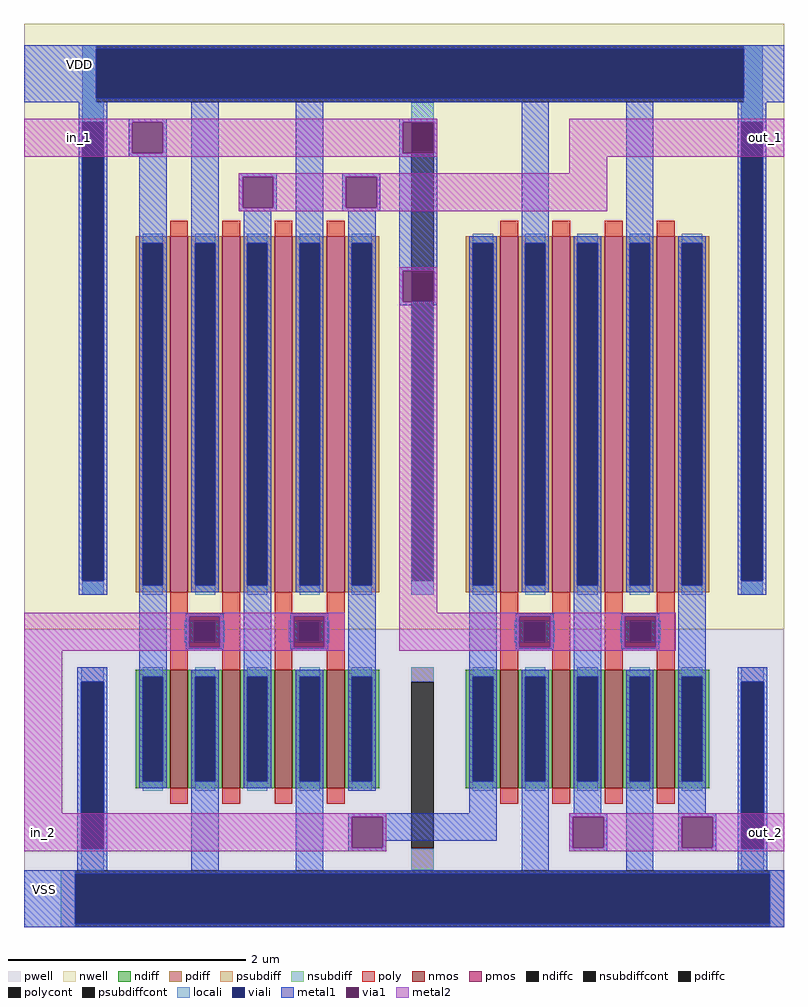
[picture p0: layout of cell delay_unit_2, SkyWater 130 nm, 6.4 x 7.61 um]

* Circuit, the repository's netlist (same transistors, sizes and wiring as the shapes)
* NGSPICE file created from delay_unit_2.ext - technology: sky130A

.subckt sky130_fd_pr__nfet_01v8_6H9P4D a_n73_n100# a_15_n100# a_n15_n126# VSUBS
X0 a_15_n100# a_n15_n126# a_n73_n100# VSUBS sky130_fd_pr__nfet_01v8 ad=0.29 pd=2.58 as=0.29 ps=2.58 w=1 l=0.15
**devattr s=11600,516 d=11600,516
.ends

.subckt sky130_fd_pr__pfet_01v8_2K9SAN a_n73_n300# w_n109_n362# a_15_n300# a_n15_n326#
X0 a_15_n300# a_n15_n326# a_n73_n300# w_n109_n362# sky130_fd_pr__pfet_01v8 ad=0.87 pd=6.58 as=0.87 ps=6.58 w=3 l=0.15
**devattr s=34800,1316 d=34800,1316
.ends

.subckt delay_unit_2 in_1 in_2 out_1 out_2 VDD VSS
Xsky130_fd_pr__nfet_01v8_6H9P4D_0 VSS out_1 in_2 VSS sky130_fd_pr__nfet_01v8_6H9P4D
Xsky130_fd_pr__nfet_01v8_6H9P4D_1 out_1 VSS in_2 VSS sky130_fd_pr__nfet_01v8_6H9P4D
Xsky130_fd_pr__pfet_01v8_2K9SAN_0 VDD VDD out_1 in_2 sky130_fd_pr__pfet_01v8_2K9SAN
Xsky130_fd_pr__nfet_01v8_6H9P4D_2 VSS out_1 in_2 VSS sky130_fd_pr__nfet_01v8_6H9P4D
Xsky130_fd_pr__pfet_01v8_2K9SAN_1 out_1 VDD VDD in_2 sky130_fd_pr__pfet_01v8_2K9SAN
Xsky130_fd_pr__nfet_01v8_6H9P4D_3 in_1 VSS in_2 VSS sky130_fd_pr__nfet_01v8_6H9P4D
Xsky130_fd_pr__pfet_01v8_2K9SAN_2 VDD VDD out_1 in_2 sky130_fd_pr__pfet_01v8_2K9SAN
Xsky130_fd_pr__nfet_01v8_6H9P4D_4 in_2 VSS in_1 VSS sky130_fd_pr__nfet_01v8_6H9P4D
Xsky130_fd_pr__pfet_01v8_2K9SAN_3 in_1 VDD VDD in_2 sky130_fd_pr__pfet_01v8_2K9SAN
Xsky130_fd_pr__nfet_01v8_6H9P4D_5 VSS out_2 in_1 VSS sky130_fd_pr__nfet_01v8_6H9P4D
Xsky130_fd_pr__nfet_01v8_6H9P4D_6 out_2 VSS in_1 VSS sky130_fd_pr__nfet_01v8_6H9P4D
Xsky130_fd_pr__pfet_01v8_2K9SAN_4 VDD VDD out_2 in_1 sky130_fd_pr__pfet_01v8_2K9SAN
Xsky130_fd_pr__nfet_01v8_6H9P4D_7 VSS out_2 in_1 VSS sky130_fd_pr__nfet_01v8_6H9P4D
Xsky130_fd_pr__pfet_01v8_2K9SAN_5 in_2 VDD VDD in_1 sky130_fd_pr__pfet_01v8_2K9SAN
Xsky130_fd_pr__pfet_01v8_2K9SAN_6 VDD VDD out_2 in_1 sky130_fd_pr__pfet_01v8_2K9SAN
Xsky130_fd_pr__pfet_01v8_2K9SAN_7 out_2 VDD VDD in_1 sky130_fd_pr__pfet_01v8_2K9SAN
.ends

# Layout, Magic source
magic
tech sky130A
magscale 1 2
<< nwell >>
rect -444 1084 836 1380
rect -444 360 -292 1084
rect 190 1080 378 1084
rect 190 970 268 1080
rect 270 1064 378 1080
rect 474 1064 538 1084
rect -198 360 -80 396
rect -22 360 96 396
rect 188 388 268 970
rect 190 360 268 388
rect 284 360 378 1064
rect 384 360 458 396
rect 718 360 836 1084
<< pwell >>
rect -444 -142 836 360
<< psubdiff >>
rect -348 272 -310 296
rect -348 -46 -310 -10
rect 208 272 246 296
rect 208 -46 246 -10
rect 764 272 802 296
rect 764 -46 802 -10
rect -382 -142 -358 -46
rect 812 -142 836 -46
<< nsubdiff >>
rect -346 1248 -322 1344
rect 768 1248 800 1344
rect -346 1214 -310 1248
rect -346 418 -310 442
rect 208 1214 246 1248
rect 208 418 246 442
rect 764 1214 800 1248
rect 764 418 800 442
<< psubdiffcont >>
rect -348 -10 -310 272
rect 208 -10 246 272
rect 764 -10 802 272
rect -358 -142 812 -46
<< nsubdiffcont >>
rect -322 1248 768 1344
rect -346 442 -310 1214
rect 208 442 246 1214
rect 764 442 800 1214
<< poly >>
rect -198 386 -168 396
rect -110 386 -80 396
rect -198 374 -80 386
rect -198 338 -158 374
rect -122 338 -80 374
rect -198 326 -80 338
rect -198 318 -168 326
rect -110 318 -80 326
rect -22 386 8 396
rect 66 386 96 396
rect -22 374 96 386
rect -22 338 18 374
rect 54 338 96 374
rect -22 326 96 338
rect -22 318 8 326
rect 66 318 96 326
rect 358 386 388 396
rect 446 386 476 396
rect 358 374 476 386
rect 358 338 398 374
rect 434 338 476 374
rect 358 326 476 338
rect 358 318 388 326
rect 446 318 476 326
rect 534 386 564 396
rect 622 386 652 396
rect 534 374 652 386
rect 534 338 576 374
rect 612 338 652 374
rect 534 326 652 338
rect 534 318 564 326
rect 622 318 652 326
<< polycont >>
rect -158 338 -122 374
rect 18 338 54 374
rect 398 338 434 374
rect 576 338 612 374
<< locali >>
rect -346 1248 -322 1344
rect 768 1248 800 1344
rect -346 1214 -310 1248
rect -346 418 -310 442
rect 208 1214 246 1248
rect 208 418 246 442
rect 764 1214 800 1248
rect 764 418 800 442
rect -174 338 -158 374
rect -122 338 -106 374
rect 2 338 18 374
rect 54 338 70 374
rect 382 338 398 374
rect 434 338 450 374
rect 560 338 576 374
rect 612 338 628 374
rect -348 272 -310 296
rect -348 -46 -310 -10
rect 208 272 246 296
rect 208 -46 246 -10
rect 764 272 802 296
rect 764 -46 802 -10
rect -382 -142 -358 -46
rect 812 -142 836 -46
<< viali >>
rect -322 1254 768 1338
rect -346 442 -310 1214
rect 764 442 800 1214
rect -158 338 -122 374
rect 18 338 54 374
rect 398 338 434 374
rect 576 338 612 374
rect -348 -10 -310 272
rect 764 -10 802 272
rect -358 -136 812 -52
<< metal1 >>
rect -444 1338 836 1344
rect -444 1254 -322 1338
rect 768 1254 836 1338
rect -444 1248 836 1254
rect -352 1214 -304 1248
rect -352 442 -346 1214
rect -310 442 -304 1214
rect -268 1214 -204 1220
rect -268 1162 -262 1214
rect -210 1162 -204 1214
rect -268 1156 -204 1162
rect -250 1022 -204 1156
rect -162 1022 -116 1248
rect -82 1122 -18 1128
rect -82 1070 -76 1122
rect -24 1070 -18 1122
rect -82 1064 -18 1070
rect -74 1022 -28 1064
rect 14 1022 60 1248
rect 188 1214 252 1220
rect 188 1162 194 1214
rect 246 1162 252 1214
rect 92 1122 156 1128
rect 92 1070 98 1122
rect 150 1070 156 1122
rect 92 1064 156 1070
rect 102 1022 148 1064
rect 188 964 252 1162
rect 394 1022 440 1248
rect 570 1022 616 1248
rect 758 1214 806 1248
rect 188 912 194 964
rect 246 912 252 964
rect 188 906 252 912
rect 208 442 246 906
rect 758 442 764 1214
rect 800 442 806 1214
rect -352 418 -304 442
rect -354 272 -304 296
rect -250 292 -204 422
rect -172 382 -108 386
rect -172 330 -166 382
rect -114 330 -108 382
rect -172 326 -108 330
rect -74 292 -28 422
rect 4 382 68 386
rect 4 330 10 382
rect 62 330 68 382
rect 4 326 68 330
rect 102 292 148 422
rect 306 292 352 422
rect 384 382 448 386
rect 384 330 390 382
rect 442 330 448 382
rect 384 326 448 330
rect 482 292 528 422
rect 562 382 626 386
rect 562 330 568 382
rect 620 330 626 382
rect 562 326 626 330
rect 658 292 704 422
rect 758 418 806 442
rect -354 -10 -348 272
rect -310 -10 -304 272
rect 758 272 808 296
rect -354 -46 -304 -10
rect -162 -46 -116 94
rect 14 -46 60 92
rect 102 88 148 92
rect 306 50 352 92
rect 102 44 352 50
rect 102 -8 108 44
rect 160 4 352 44
rect 160 -8 166 4
rect 102 -14 166 -8
rect 394 -46 440 92
rect 482 50 528 92
rect 474 44 538 50
rect 474 -8 480 44
rect 532 -8 538 44
rect 474 -14 538 -8
rect 570 -46 616 92
rect 658 50 704 92
rect 658 44 722 50
rect 658 -8 664 44
rect 716 -8 722 44
rect 658 -14 722 -8
rect 758 -10 764 272
rect 802 -10 808 272
rect 758 -46 808 -10
rect -444 -52 836 -46
rect -444 -136 -358 -52
rect 812 -136 836 -52
rect -444 -142 836 -136
<< via1 >>
rect -262 1162 -210 1214
rect -76 1070 -24 1122
rect 194 1162 246 1214
rect 98 1070 150 1122
rect 194 912 246 964
rect -166 374 -114 382
rect -166 338 -158 374
rect -158 338 -122 374
rect -122 338 -114 374
rect -166 330 -114 338
rect 10 374 62 382
rect 10 338 18 374
rect 18 338 54 374
rect 54 338 62 374
rect 10 330 62 338
rect 390 374 442 382
rect 390 338 398 374
rect 398 338 434 374
rect 434 338 442 374
rect 390 330 442 338
rect 568 374 620 382
rect 568 338 576 374
rect 576 338 612 374
rect 612 338 620 374
rect 568 330 620 338
rect 108 -8 160 44
rect 480 -8 532 44
rect 664 -8 716 44
<< metal2 >>
rect -444 1214 252 1220
rect -444 1162 -262 1214
rect -210 1162 194 1214
rect 246 1162 252 1214
rect -444 1156 252 1162
rect 474 1156 836 1220
rect 474 1128 538 1156
rect -82 1122 538 1128
rect -82 1070 -76 1122
rect -24 1070 98 1122
rect 150 1070 538 1122
rect -82 1064 538 1070
rect 188 964 252 970
rect 188 912 194 964
rect 246 912 252 964
rect 188 388 252 912
rect -444 382 96 388
rect -444 330 -166 382
rect -114 330 10 382
rect 62 330 96 382
rect -444 324 96 330
rect 188 382 654 388
rect 188 330 390 382
rect 442 330 568 382
rect 620 330 654 382
rect 188 324 654 330
rect -444 50 -380 324
rect -444 44 166 50
rect -444 -8 108 44
rect 160 -8 166 44
rect -444 -14 166 -8
rect 474 44 836 50
rect 474 -8 480 44
rect 532 -8 664 44
rect 716 -8 836 44
rect 474 -14 836 -8
use sky130_fd_pr__nfet_01v8_6H9P4D  sky130_fd_pr__nfet_01v8_6H9P4D_0
transform 1 0 81 0 1 192
box -73 -126 73 126
use sky130_fd_pr__nfet_01v8_6H9P4D  sky130_fd_pr__nfet_01v8_6H9P4D_1
transform 1 0 -7 0 1 192
box -73 -126 73 126
use sky130_fd_pr__nfet_01v8_6H9P4D  sky130_fd_pr__nfet_01v8_6H9P4D_2
transform 1 0 -95 0 1 192
box -73 -126 73 126
use sky130_fd_pr__nfet_01v8_6H9P4D  sky130_fd_pr__nfet_01v8_6H9P4D_3
transform 1 0 -183 0 1 192
box -73 -126 73 126
use sky130_fd_pr__nfet_01v8_6H9P4D  sky130_fd_pr__nfet_01v8_6H9P4D_4
transform 1 0 373 0 1 192
box -73 -126 73 126
use sky130_fd_pr__nfet_01v8_6H9P4D  sky130_fd_pr__nfet_01v8_6H9P4D_5
transform 1 0 461 0 1 192
box -73 -126 73 126
use sky130_fd_pr__nfet_01v8_6H9P4D  sky130_fd_pr__nfet_01v8_6H9P4D_6
transform 1 0 549 0 1 192
box -73 -126 73 126
use sky130_fd_pr__nfet_01v8_6H9P4D  sky130_fd_pr__nfet_01v8_6H9P4D_7
transform 1 0 637 0 1 192
box -73 -126 73 126
use sky130_fd_pr__pfet_01v8_2K9SAN  sky130_fd_pr__pfet_01v8_2K9SAN_0
transform 1 0 81 0 1 722
box -109 -362 109 362
use sky130_fd_pr__pfet_01v8_2K9SAN  sky130_fd_pr__pfet_01v8_2K9SAN_1
transform 1 0 -7 0 1 722
box -109 -362 109 362
use sky130_fd_pr__pfet_01v8_2K9SAN  sky130_fd_pr__pfet_01v8_2K9SAN_2
transform 1 0 -95 0 1 722
box -109 -362 109 362
use sky130_fd_pr__pfet_01v8_2K9SAN  sky130_fd_pr__pfet_01v8_2K9SAN_3
transform 1 0 -183 0 1 722
box -109 -362 109 362
use sky130_fd_pr__pfet_01v8_2K9SAN  sky130_fd_pr__pfet_01v8_2K9SAN_4
transform 1 0 461 0 1 722
box -109 -362 109 362
use sky130_fd_pr__pfet_01v8_2K9SAN  sky130_fd_pr__pfet_01v8_2K9SAN_5
transform 1 0 373 0 1 722
box -109 -362 109 362
use sky130_fd_pr__pfet_01v8_2K9SAN  sky130_fd_pr__pfet_01v8_2K9SAN_6
transform 1 0 637 0 1 722
box -109 -362 109 362
use sky130_fd_pr__pfet_01v8_2K9SAN  sky130_fd_pr__pfet_01v8_2K9SAN_7
transform 1 0 549 0 1 722
box -109 -362 109 362
<< labels >>
rlabel metal2 -444 -14 -380 50 0 in_2
port 2 nsew
rlabel metal2 772 -14 836 50 0 out_2
port 4 nsew
rlabel metal2 -382 1156 -318 1220 0 in_1
port 1 nsew
rlabel nwell -382 1280 -318 1344 0 VDD
port 5 nsew
rlabel metal1 -442 -110 -378 -46 0 VSS
port 6 nsew
rlabel metal2 772 1156 836 1220 0 out_1
port 3 nsew
<< end >>

# cell sky130_fd_pr__nfet_01v8_6H9P4D: kit device sky130_fd_pr__nfet_01v8, w 1 l 0.150 m 1 nf 1 diffcov 100 polycov 100 guard 0 glc 1 grc 1 gtc 1 gbc 1 tbcov 100 rlcov 100 topc 0 botc 0 poverlap 0 doverlap 1 lmin 0.15 wmin 0.42 compatible {sky130_fd_pr__nfet_01v8 sky130_fd_pr__nfet_01v8_lvt sky130_fd_bs_flash__special_sonosfet_star sky130_fd_pr__nfet_g5v0d10v5 sky130_fd_pr__nfet_05v0_nvt sky130_fd_pr__nfet_03v3_nvt} full_metal 1 viasrc 100 viadrn 100 viagate 100 viagb 0 viagr 0 viagl 0 viagt 0

# cell sky130_fd_pr__pfet_01v8_2K9SAN: kit device sky130_fd_pr__pfet_01v8, w 3 l 0.15 m 1 nf 1 diffcov 100 polycov 100 guard 0 glc 1 grc 1 gtc 1 gbc 1 tbcov 100 rlcov 100 topc 0 botc 0 poverlap 0 doverlap 1 lmin 0.15 wmin 0.42 compatible {sky130_fd_pr__pfet_01v8 sky130_fd_pr__pfet_01v8_lvt sky130_fd_pr__pfet_01v8_hvt sky130_fd_pr__pfet_g5v0d10v5} full_metal 1 viasrc 100 viadrn 100 viagate 100 viagb 0 viagr 0 viagl 0 viagt 0
